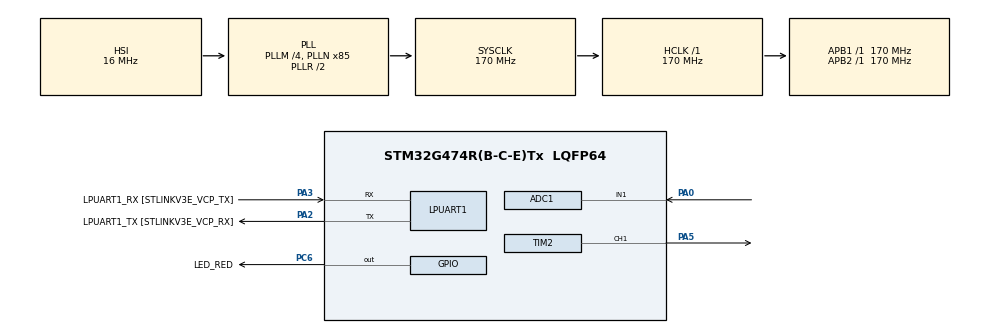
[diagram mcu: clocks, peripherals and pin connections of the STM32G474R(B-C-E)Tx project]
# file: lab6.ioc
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ADC1.Channel-0\#ChannelRegularConversion=ADC_CHANNEL_1
ADC1.ContinuousConvMode=DISABLE
ADC1.DMAContinuousRequests=ENABLE
ADC1.ExternalTrigConv=ADC_EXTERNALTRIG_T3_TRGO
ADC1.NbrOfConversionFlag=1
ADC1.OffsetNumber-0\#ChannelRegularConversion=ADC_OFFSET_NONE
ADC1.Rank-0\#ChannelRegularConversion=1
ADC1.SamplingTime-0\#ChannelRegularConversion=ADC_SAMPLETIME_47CYCLES_5
ADC1.master=1
Dma.ADC1.0.Direction=DMA_PERIPH_TO_MEMORY
Dma.ADC1.0.EventEnable=DISABLE
Dma.ADC1.0.Instance=DMA1_Channel1
Dma.ADC1.0.MemDataAlignment=DMA_MDATAALIGN_HALFWORD
Dma.ADC1.0.MemInc=DMA_MINC_ENABLE
Dma.ADC1.0.Mode=DMA_CIRCULAR
Dma.ADC1.0.PeriphDataAlignment=DMA_PDATAALIGN_HALFWORD
Dma.ADC1.0.PeriphInc=DMA_PINC_DISABLE
Dma.ADC1.0.Polarity=HAL_DMAMUX_REQ_GEN_RISING
Dma.ADC1.0.Priority=DMA_PRIORITY_LOW
Dma.ADC1.0.RequestNumber=1
Dma.ADC1.0.SignalID=NONE
Dma.ADC1.0.SyncEnable=DISABLE
Dma.ADC1.0.SyncPolarity=HAL_DMAMUX_SYNC_NO_EVENT
Dma.ADC1.0.SyncRequestNumber=1
Dma.ADC1.0.SyncSignalID=NONE
Dma.Request0=ADC1
Mcu.Family=STM32G4
Mcu.Name=STM32G474R(B-C-E)Tx
Mcu.Package=LQFP64
NVIC.DMA1_Channel1_IRQn=true\:0\:0\:false\:false\:true\:false\:true\:true
NVIC.PriorityGroup=NVIC_PRIORITYGROUP_4
PA0.Mode=IN1-Single-Ended
PA0.Signal=ADC1_IN1
PA13.GPIO_Label=T_SWDIO
PA13.Signal=SYS_JTMS-SWDIO
PA14.GPIO_Label=T_SWCLK
PA14.Signal=SYS_JTCK-SWCLK
PA2.GPIO_Label=LPUART1_TX [STLINKV3E_VCP_RX]
PA2.Mode=Asynchronous
PA2.Signal=LPUART1_TX
PA3.GPIO_Label=LPUART1_RX [STLINKV3E_VCP_TX]
PA3.Mode=Asynchronous
PA3.Signal=LPUART1_RX
PA5.Signal=S_TIM2_CH1
PB3.GPIO_Label=T_SWO
PB3.Signal=SYS_JTDO-SWO
PC14-OSC32_IN.GPIO_Label=RCC_OSC32_IN
PC14-OSC32_IN.Signal=RCC_OSC32_IN
PC15-OSC32_OUT.GPIO_Label=RCC_OSC32_OUT
PC15-OSC32_OUT.Signal=RCC_OSC32_OUT
PC6.GPIO_Label=LED_RED
PC6.Signal=GPIO_Output
PF0-OSC_IN.GPIO_Label=RCC_OSC_IN
PF0-OSC_IN.Signal=RCC_OSC_IN
PF1-OSC_OUT.GPIO_Label=RCC_OSC_OUT
PF1-OSC_OUT.Signal=RCC_OSC_OUT
ProjectManager.HeapSize=0x200
ProjectManager.StackSize=0x400
ProjectManager.TargetToolchain=STM32CubeIDE
RCC.ADC12Freq_Value=170000000
RCC.ADC345Freq_Value=170000000
RCC.AHBFreq_Value=170000000
RCC.APB1Freq_Value=170000000
RCC.APB1TimFreq_Value=170000000
RCC.APB2Freq_Value=170000000
RCC.APB2TimFreq_Value=170000000
RCC.CortexFreq_Value=170000000
RCC.EXTERNAL_CLOCK_VALUE=12288000
RCC.HCLKFreq_Value=170000000
RCC.HSE_VALUE=24000000
RCC.HSI48_VALUE=48000000
RCC.HSI_VALUE=16000000
RCC.LSE_VALUE=32768
RCC.PLLM=RCC_PLLM_DIV4
RCC.PLLN=85
RCC.RTCClockSelection=RCC_RTCCLKSOURCE_LSE
RCC.SYSCLKFreq_VALUE=170000000
RCC.SYSCLKSource=RCC_SYSCLKSOURCE_PLLCLK
RCC.USBFreq_Value=170000000
RCC.VCOOutputFreq_Value=340000000
SH.S_TIM2_CH1.0=TIM2_CH1,PWM Generation1 CH1
TIM2.Channel-PWM\ Generation1\ CH1=TIM_CHANNEL_1
TIM2.PeriodNoDither=1000-1
TIM2.Prescaler=170-1
TIM3.PeriodNoDither=125-1
TIM3.Prescaler=170-1
TIM3.TIM_MasterOutputTrigger=TIM_TRGO_UPDATE
VP_SYS_VS_DBSignals.Mode=DisableDeadBatterySignals
VP_TIM2_VS_ClockSourceINT.Mode=Internal
VP_TIM3_VS_ClockSourceINT.Mode=Internal
board=NUCLEO-G474RE

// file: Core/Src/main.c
/* USER CODE BEGIN Header */
/**
  * Lab6 : ADC x DMA 聲控律動燈
  * - TIM3 每 125 us 觸發 ADC1 (8000 Hz)
  * - DMA Circular + Ping-pong (256 筆, 兩半各 128 筆)
  * - PC6 紅燈：拍手/彈指 切換（基本題）
  * - PA5 / D13 綠燈 (TIM2_CH1 PWM)：音量越大越亮（挑戰題）
  */
/* USER CODE END Header */
#include "main.h"

/* USER CODE BEGIN Includes */
#include <stdio.h>
/* USER CODE END Includes */

/* USER CODE BEGIN PD */
#define BUF_LEN   256
#define HALF_LEN  128
#define TH_MUL    1
#define TH_ADD    12
/* USER CODE END PD */

ADC_HandleTypeDef  hadc1;
DMA_HandleTypeDef  hdma_adc1;
UART_HandleTypeDef hlpuart1;
TIM_HandleTypeDef  htim2;
TIM_HandleTypeDef  htim3;

/* USER CODE BEGIN PV */
uint16_t adc_buf[BUF_LEN];
volatile uint8_t  process_flag = 0;   // 0=沒事, 1=前半滿, 2=後半滿
volatile uint32_t overrun = 0;

uint32_t noise = 0;
uint32_t th = 0;
uint8_t  led_on = 0;
uint32_t last_toggle = 0;
/* USER CODE END PV */

void SystemClock_Config(void);
static void MX_GPIO_Init(void);
static void MX_DMA_Init(void);
static void MX_ADC1_Init(void);
static void MX_TIM2_Init(void);
static void MX_TIM3_Init(void);
static void MX_LPUART1_UART_Init(void);

/* USER CODE BEGIN 0 */
int __io_putchar(int ch)
{
  HAL_UART_Transmit(&hlpuart1, (uint8_t *)&ch, 1, HAL_MAX_DELAY);
  return ch;
}

static uint32_t block_loud(const uint16_t *p, uint32_t n)
{
  uint16_t mx = 0, mn = 4095;
  for (uint32_t i = 0; i < n; i++) {
    if (p[i] > mx) mx = p[i];
    if (p[i] < mn) mn = p[i];
  }
  return mx - mn;
}

/* PA5 當一般 GPIO 輸出（開機閃燈測試用） */
static void pa5_as_gpio(void)
{
  GPIO_InitTypeDef g = {0};
  g.Pin   = GPIO_PIN_5;
  g.Mode  = GPIO_MODE_OUTPUT_PP;
  g.Pull  = GPIO_NOPULL;
  g.Speed = GPIO_SPEED_FREQ_LOW;
  HAL_GPIO_Init(GPIOA, &g);
}

/* 直接用暫存器設定 PA5 = TIM2_CH1 PWM（1 kHz） */
static void tim2_pwm_reg_init(void)
{
  RCC->APB1ENR1 |= RCC_APB1ENR1_TIM2EN;      // 開 TIM2 時脈
  RCC->AHB2ENR  |= RCC_AHB2ENR_GPIOAEN;      // 開 GPIOA 時脈
  (void)RCC->APB1ENR1;                       // 等時脈生效

  /* PA5：複用功能模式 (MODER=10)，AF1 = TIM2_CH1 */
  GPIOA->MODER  = (GPIOA->MODER  & ~(3U   << 10)) | (2U << 10);
  GPIOA->AFR[0] = (GPIOA->AFR[0] & ~(0xFU << 20)) | (1U << 20);

  /* TIM2：170 MHz / 170 = 1 MHz，/1000 = 1 kHz */
  TIM2->CR1   = 0;
  TIM2->PSC   = 170 - 1;
  TIM2->ARR   = 1000 - 1;
  TIM2->CCR1  = 0;
  TIM2->CCMR1 = (TIM2->CCMR1 & ~(TIM_CCMR1_OC1M | TIM_CCMR1_CC1S))
              | (6U << TIM_CCMR1_OC1M_Pos)   // PWM mode 1
              | TIM_CCMR1_OC1PE;             // CCR1 預載
  TIM2->CCER |= TIM_CCER_CC1E;               // 打開 CH1 輸出
  TIM2->EGR   = TIM_EGR_UG;                  // 載入設定
  TIM2->CR1  |= TIM_CR1_CEN;                 // 開始計數
}

/* 設定綠燈亮度：0 ~ 1000 = 0% ~ 100% */
static void green_set(uint32_t duty)
{
  TIM2->CCR1 = duty;
}
/* USER CODE END 0 */

int main(void)
{
  HAL_Init();
  SystemClock_Config();

  MX_GPIO_Init();
  MX_DMA_Init();
  MX_ADC1_Init();
  MX_TIM2_Init();
  MX_TIM3_Init();
  MX_LPUART1_UART_Init();

  /* USER CODE BEGIN 2 */
  printf("\r\n===== Lab6 start =====\r\n");

  /* 測試 1：綠燈當一般 GPIO，閃 3 下 */
  printf("Test1: GREEN blink x3 (GPIO)\r\n");
  pa5_as_gpio();
  for (int i = 0; i < 3; i++) {
    HAL_GPIO_WritePin(GPIOA, GPIO_PIN_5, GPIO_PIN_SET);
    HAL_Delay(300);
    HAL_GPIO_WritePin(GPIOA, GPIO_PIN_5, GPIO_PIN_RESET);
    HAL_Delay(300);
  }

  /* 測試 2：紅燈亮 1 秒 */
  printf("Test2: RED on 1s\r\n");
  HAL_GPIO_WritePin(GPIOC, GPIO_PIN_6, GPIO_PIN_SET);
  HAL_Delay(1000);
  HAL_GPIO_WritePin(GPIOC, GPIO_PIN_6, GPIO_PIN_RESET);

  /* 測試 3：綠燈 PWM 呼吸 3 次 */
  tim2_pwm_reg_init();
  printf("Test3: GREEN PWM fade x3\r\n");
  printf("  CR1=%lx CCMR1=%lx CCER=%lx PSC=%lu ARR=%lu\r\n",
         TIM2->CR1, TIM2->CCMR1, TIM2->CCER, TIM2->PSC, TIM2->ARR);
  printf("  PA5 MODE=%lu AF=%lu\r\n",
         (GPIOA->MODER >> 10) & 3, (GPIOA->AFR[0] >> 20) & 0xF);
  for (int n = 0; n < 3; n++) {
    for (int d = 0; d <= 1000; d += 10)  { green_set(d); HAL_Delay(5); }
    for (int d = 1000; d >= 0; d -= 10)  { green_set(d); HAL_Delay(5); }
  }
  green_set(0);

  /* 保險：強制 DMA 為 Circular、Half Word */
  hdma_adc1.Init.Mode                = DMA_CIRCULAR;
  hdma_adc1.Init.PeriphInc           = DMA_PINC_DISABLE;
  hdma_adc1.Init.MemInc              = DMA_MINC_ENABLE;
  hdma_adc1.Init.PeriphDataAlignment = DMA_PDATAALIGN_HALFWORD;
  hdma_adc1.Init.MemDataAlignment    = DMA_MDATAALIGN_HALFWORD;
  HAL_DMA_Init(&hdma_adc1);

  /* 啟動 ADC + DMA + TIM3 */
  HAL_ADCEx_Calibration_Start(&hadc1, ADC_SINGLE_ENDED);
  HAL_ADC_Start_DMA(&hadc1, (uint32_t *)adc_buf, BUF_LEN);
  HAL_TIM_Base_Start(&htim3);
  printf("Keep quiet 1s...\r\n");

  uint8_t  calibrating = 1;
  uint32_t t_start = HAL_GetTick();
  uint32_t peak = 0;
  uint32_t last_print = 0;
  /* USER CODE END 2 */

  /* USER CODE BEGIN WHILE */
  while (1)
  {
    if (process_flag != 0)
    {
      uint8_t f = process_flag;
      process_flag = 0;

      uint16_t *p = (f == 1) ? &adc_buf[0] : &adc_buf[HALF_LEN];

      uint32_t loud = block_loud(p, HALF_LEN);
      uint32_t adc_val = p[HALF_LEN - 1];

      /* 每 0.5 秒印一行 */
      if (loud > peak) peak = loud;
      if (HAL_GetTick() - last_print >= 500) {
        printf("ADC=%lu PEAK=%lu TH=%lu\r\n",
               (unsigned long)adc_val, (unsigned long)peak, (unsigned long)th);
        peak = 0;
        last_print = HAL_GetTick();
      }

      /* 開機 1 秒：量噪音、算門檻 */
      if (calibrating)
      {
        if (loud > noise) noise = loud;
        if (HAL_GetTick() - t_start >= 1000) {
          th = noise * TH_MUL + TH_ADD;
          calibrating = 0;
          printf("NOISE=%lu TH=%lu  -> now clap!\r\n",
                 (unsigned long)noise, (unsigned long)th);
        }
        continue;
      }

      /* 基本題：拍手切換紅燈 PC6 */
      if (loud > th && HAL_GetTick() - last_toggle > 300)
      {
        led_on = !led_on;
        HAL_GPIO_WritePin(GPIOC, GPIO_PIN_6, led_on ? GPIO_PIN_SET : GPIO_PIN_RESET);
        last_toggle = HAL_GetTick();
        printf("CLAP! LOUD=%lu RED=%s\r\n", (unsigned long)loud, led_on ? "ON" : "OFF");
      }

      /* 挑戰題：綠燈依音量 0% / 33% / 66% / 100% */
      if      (loud >= 3 * th) green_set(1000);
      else if (loud >= 2 * th) green_set(666);
      else if (loud >= th)     green_set(333);
      else                     green_set(0);
    }
    /* USER CODE END WHILE */

  }
}

void SystemClock_Config(void)
{
  RCC_OscInitTypeDef RCC_OscInitStruct = {0};
  RCC_ClkInitTypeDef RCC_ClkInitStruct = {0};

  HAL_PWREx_ControlVoltageScaling(PWR_REGULATOR_VOLTAGE_SCALE1_BOOST);

  RCC_OscInitStruct.OscillatorType      = RCC_OSCILLATORTYPE_HSI;
  RCC_OscInitStruct.HSIState            = RCC_HSI_ON;
  RCC_OscInitStruct.HSICalibrationValue = RCC_HSICALIBRATION_DEFAULT;
  RCC_OscInitStruct.PLL.PLLState        = RCC_PLL_ON;
  RCC_OscInitStruct.PLL.PLLSource       = RCC_PLLSOURCE_HSI;
  RCC_OscInitStruct.PLL.PLLM            = RCC_PLLM_DIV4;
  RCC_OscInitStruct.PLL.PLLN            = 85;
  RCC_OscInitStruct.PLL.PLLP            = RCC_PLLP_DIV2;
  RCC_OscInitStruct.PLL.PLLQ            = RCC_PLLQ_DIV2;
  RCC_OscInitStruct.PLL.PLLR            = RCC_PLLR_DIV2;
  if (HAL_RCC_OscConfig(&RCC_OscInitStruct) != HAL_OK) Error_Handler();

  RCC_ClkInitStruct.ClockType      = RCC_CLOCKTYPE_HCLK | RCC_CLOCKTYPE_SYSCLK
                                   | RCC_CLOCKTYPE_PCLK1 | RCC_CLOCKTYPE_PCLK2;
  RCC_ClkInitStruct.SYSCLKSource   = RCC_SYSCLKSOURCE_PLLCLK;
  RCC_ClkInitStruct.AHBCLKDivider  = RCC_SYSCLK_DIV1;
  RCC_ClkInitStruct.APB1CLKDivider = RCC_HCLK_DIV1;
  RCC_ClkInitStruct.APB2CLKDivider = RCC_HCLK_DIV1;
  if (HAL_RCC_ClockConfig(&RCC_ClkInitStruct, FLASH_LATENCY_4) != HAL_OK) Error_Handler();
}

static void MX_ADC1_Init(void)
{
  ADC_MultiModeTypeDef   multimode = {0};
  ADC_ChannelConfTypeDef sConfig   = {0};

  hadc1.Instance                   = ADC1;
  hadc1.Init.ClockPrescaler        = ADC_CLOCK_SYNC_PCLK_DIV4;
  hadc1.Init.Resolution            = ADC_RESOLUTION_12B;
  hadc1.Init.DataAlign             = ADC_DATAALIGN_RIGHT;
  hadc1.Init.GainCompensation      = 0;
  hadc1.Init.ScanConvMode          = ADC_SCAN_DISABLE;
  hadc1.Init.EOCSelection          = ADC_EOC_SINGLE_CONV;
  hadc1.Init.LowPowerAutoWait      = DISABLE;
  hadc1.Init.ContinuousConvMode    = DISABLE;
  hadc1.Init.NbrOfConversion       = 1;
  hadc1.Init.DiscontinuousConvMode = DISABLE;
  hadc1.Init.ExternalTrigConv      = ADC_EXTERNALTRIG_T3_TRGO;
  hadc1.Init.ExternalTrigConvEdge  = ADC_EXTERNALTRIGCONVEDGE_RISING;
  hadc1.Init.DMAContinuousRequests = ENABLE;
  hadc1.Init.Overrun               = ADC_OVR_DATA_OVERWRITTEN;
  hadc1.Init.OversamplingMode      = DISABLE;
  if (HAL_ADC_Init(&hadc1) != HAL_OK) Error_Handler();

  multimode.Mode = ADC_MODE_INDEPENDENT;
  if (HAL_ADCEx_MultiModeConfigChannel(&hadc1, &multimode) != HAL_OK) Error_Handler();

  sConfig.Channel      = ADC_CHANNEL_1;
  sConfig.Rank         = ADC_REGULAR_RANK_1;
  sConfig.SamplingTime = ADC_SAMPLETIME_47CYCLES_5;
  sConfig.SingleDiff   = ADC_SINGLE_ENDED;
  sConfig.OffsetNumber = ADC_OFFSET_NONE;
  sConfig.Offset       = 0;
  if (HAL_ADC_ConfigChannel(&hadc1, &sConfig) != HAL_OK) Error_Handler();
}

static void MX_LPUART1_UART_Init(void)
{
  hlpuart1.Instance                    = LPUART1;
  hlpuart1.Init.BaudRate               = 115200;
  hlpuart1.Init.WordLength             = UART_WORDLENGTH_8B;
  hlpuart1.Init.StopBits               = UART_STOPBITS_1;
  hlpuart1.Init.Parity                 = UART_PARITY_NONE;
  hlpuart1.Init.Mode                   = UART_MODE_TX_RX;
  hlpuart1.Init.HwFlowCtl              = UART_HWCONTROL_NONE;
  hlpuart1.Init.OneBitSampling         = UART_ONE_BIT_SAMPLE_DISABLE;
  hlpuart1.Init.ClockPrescaler         = UART_PRESCALER_DIV1;
  hlpuart1.AdvancedInit.AdvFeatureInit = UART_ADVFEATURE_NO_INIT;
  if (HAL_UART_Init(&hlpuart1) != HAL_OK) Error_Handler();
  if (HAL_UARTEx_SetTxFifoThreshold(&hlpuart1, UART_TXFIFO_THRESHOLD_1_8) != HAL_OK) Error_Handler();
  if (HAL_UARTEx_SetRxFifoThreshold(&hlpuart1, UART_RXFIFO_THRESHOLD_1_8) != HAL_OK) Error_Handler();
  if (HAL_UARTEx_DisableFifoMode(&hlpuart1) != HAL_OK) Error_Handler();
}

/* TIM2 改由 tim2_pwm_reg_init() 用暫存器設定，這裡只留 handle */
static void MX_TIM2_Init(void)
{
  htim2.Instance = TIM2;
}

static void MX_TIM3_Init(void)
{
  TIM_ClockConfigTypeDef  sClockSourceConfig = {0};
  TIM_MasterConfigTypeDef sMasterConfig      = {0};

  __HAL_RCC_TIM3_CLK_ENABLE();

  htim3.Instance               = TIM3;
  htim3.Init.Prescaler         = 170 - 1;     // 1 MHz
  htim3.Init.CounterMode       = TIM_COUNTERMODE_UP;
  htim3.Init.Period            = 125 - 1;     // 8 kHz
  htim3.Init.ClockDivision     = TIM_CLOCKDIVISION_DIV1;
  htim3.Init.AutoReloadPreload = TIM_AUTORELOAD_PRELOAD_DISABLE;
  if (HAL_TIM_Base_Init(&htim3) != HAL_OK) Error_Handler();

  sClockSourceConfig.ClockSource = TIM_CLOCKSOURCE_INTERNAL;
  if (HAL_TIM_ConfigClockSource(&htim3, &sClockSourceConfig) != HAL_OK) Error_Handler();

  sMasterConfig.MasterOutputTrigger = TIM_TRGO_UPDATE;
  sMasterConfig.MasterSlaveMode     = TIM_MASTERSLAVEMODE_DISABLE;
  if (HAL_TIMEx_MasterConfigSynchronization(&htim3, &sMasterConfig) != HAL_OK) Error_Handler();
}

static void MX_DMA_Init(void)
{
  __HAL_RCC_DMAMUX1_CLK_ENABLE();
  __HAL_RCC_DMA1_CLK_ENABLE();
  HAL_NVIC_SetPriority(DMA1_Channel1_IRQn, 0, 0);
  HAL_NVIC_EnableIRQ(DMA1_Channel1_IRQn);
}

static void MX_GPIO_Init(void)
{
  GPIO_InitTypeDef GPIO_InitStruct = {0};

  __HAL_RCC_GPIOC_CLK_ENABLE();
  __HAL_RCC_GPIOF_CLK_ENABLE();
  __HAL_RCC_GPIOA_CLK_ENABLE();
  __HAL_RCC_GPIOB_CLK_ENABLE();

  HAL_GPIO_WritePin(GPIOC, GPIO_PIN_6, GPIO_PIN_RESET);

  GPIO_InitStruct.Pin   = GPIO_PIN_6;
  GPIO_InitStruct.Mode  = GPIO_MODE_OUTPUT_PP;
  GPIO_InitStruct.Pull  = GPIO_NOPULL;
  GPIO_InitStruct.Speed = GPIO_SPEED_FREQ_LOW;
  HAL_GPIO_Init(GPIOC, &GPIO_InitStruct);
}

/* USER CODE BEGIN 4 */
void HAL_ADC_ConvHalfCpltCallback(ADC_HandleTypeDef *hadc)
{
  if (hadc->Instance == ADC1) {
    if (process_flag != 0) overrun++;
    process_flag = 1;
  }
}

void HAL_ADC_ConvCpltCallback(ADC_HandleTypeDef *hadc)
{
  if (hadc->Instance == ADC1) {
    if (process_flag != 0) overrun++;
    process_flag = 2;
  }
}
/* USER CODE END 4 */

void Error_Handler(void)
{
  __disable_irq();
  while (1) { }
}
